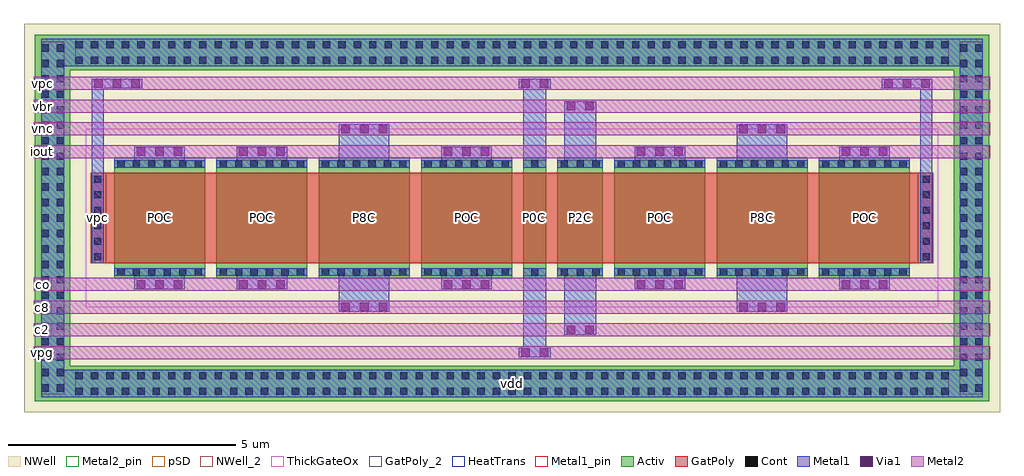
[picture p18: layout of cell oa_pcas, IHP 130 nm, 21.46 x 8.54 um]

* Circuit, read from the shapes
.subckt oa_pcas c2 c8 co iout vbr vdd vnc vpc vpg
XM1 iout vpc co vdd sg13_hv_pmos w=2u l=2u m=5
XM2 vnc vpc c8 vdd sg13_hv_pmos w=2u l=2u m=2
XM3 vpc vpc vpg vdd sg13_hv_pmos w=0.5u l=2u
XM4 vbr vpc c2 vdd sg13_hv_pmos w=1u l=2u
.ends

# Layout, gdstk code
from math import pi, radians
import gdstk
lib = gdstk.Library(unit=1e-6, precision=1e-09)
def R(c, l, rs):  # rectangles x0, y0, x1, y1
    for r in rs: c.add(gdstk.rectangle(r[:2], r[2:], *l))
def A(c, l, x, y, w, h, nx, ny, dx, dy):  # array of equal rectangles
    R(c, l, [(x+i*dx, y+j*dy, x+i*dx+w, y+j*dy+h) for i in range(nx) for j in range(ny)])
Activ = (1, 0)
GatPoly = (5, 0)
GatPoly_2 = (5, 2)
Cont = (6, 0)
Metal1 = (8, 0)
Metal1_pin = (8, 2)
Metal2 = (10, 0)
Metal2_pin = (10, 2)
pSD = (14, 0)
Via1 = (19, 0)
NWell = (31, 0)
NWell_2 = (31, 2)
ThickGateOx = (44, 0)
HeatTrans = (51, 0)

pmoshv_10 = lib.new_cell('pmosHV$10')
R(pmoshv_10, Activ, [(0,0,0.3,0.3), (0,0,2.68,2), (2.38,0,2.68,0.3)])
R(pmoshv_10, GatPoly, [(0.34,-0.18,2.34,2.18)])
R(pmoshv_10, GatPoly_2, [(0.34,-0.18,2.34,2.18)])
A(pmoshv_10, Cont, 0.07, 0.07, 0.16, 0.16, 1, 6, 0, 0.34)
A(pmoshv_10, Cont, 2.45, 0.07, 0.16, 0.16, 1, 6, 0, 0.34)
R(pmoshv_10, Metal1, [(0.07,0,0.23,2), (2.45,0,2.61,2)])
R(pmoshv_10, Metal1_pin, [(0.07,0,0.23,2), (2.45,0,2.61,2)])
R(pmoshv_10, pSD, [(-0.18,-0.4,2.86,2.4)])
R(pmoshv_10, NWell, [(-0.62,-0.62,3.3,2.62)])
R(pmoshv_10, ThickGateOx, [(-0.62,-0.62,3.3,2.62)])
R(pmoshv_10, HeatTrans, [(0.34,-0.18,2.34,2.18)])
pmoshv_10.add(gdstk.Label('pmosHV', (1.34,1), layer=63, texttype=0))
pmoshv_10.add(gdstk.Label('pmos', (1.34,1), layer=51, texttype=0))

pmoshv_11 = lib.new_cell('pmosHV$11')
R(pmoshv_11, Activ, [(0,0,0.3,0.3), (0,0,2.68,0.5), (2.38,0,2.68,0.3)])
R(pmoshv_11, GatPoly, [(0.34,-0.18,2.34,0.68)])
R(pmoshv_11, GatPoly_2, [(0.34,-0.18,2.34,0.68)])
R(pmoshv_11, Cont, [(0.07,0.17,0.23,0.33), (2.45,0.17,2.61,0.33)])
R(pmoshv_11, Metal1, [(0.07,0,0.23,0.5), (2.45,0,2.61,0.5)])
R(pmoshv_11, Metal1_pin, [(0.07,0,0.23,0.5), (2.45,0,2.61,0.5)])
R(pmoshv_11, pSD, [(-0.18,-0.4,2.86,0.9)])
R(pmoshv_11, NWell, [(-0.62,-0.62,3.3,1.12)])
R(pmoshv_11, ThickGateOx, [(-0.62,-0.62,3.3,1.12)])
R(pmoshv_11, HeatTrans, [(0.34,-0.18,2.34,0.68)])
pmoshv_11.add(gdstk.Label('pmosHV', (1.34,0.25), layer=63, texttype=0))
pmoshv_11.add(gdstk.Label('pmos', (1.34,0.25), layer=51, texttype=0))

pmoshv_12 = lib.new_cell('pmosHV$12')
R(pmoshv_12, Activ, [(0,0,0.3,0.3), (0,0,2.68,1), (2.38,0,2.68,0.3)])
R(pmoshv_12, GatPoly, [(0.34,-0.18,2.34,1.18)])
R(pmoshv_12, GatPoly_2, [(0.34,-0.18,2.34,1.18)])
A(pmoshv_12, Cont, 0.07, 0.07, 0.16, 0.16, 1, 3, 0, 0.35)
A(pmoshv_12, Cont, 2.45, 0.07, 0.16, 0.16, 1, 3, 0, 0.35)
R(pmoshv_12, Metal1, [(0.07,0,0.23,1), (2.45,0,2.61,1)])
R(pmoshv_12, Metal1_pin, [(0.07,0,0.23,1), (2.45,0,2.61,1)])
R(pmoshv_12, pSD, [(-0.18,-0.4,2.86,1.4)])
R(pmoshv_12, NWell, [(-0.62,-0.62,3.3,1.62)])
R(pmoshv_12, ThickGateOx, [(-0.62,-0.62,3.3,1.62)])
R(pmoshv_12, HeatTrans, [(0.34,-0.18,2.34,1.18)])
pmoshv_12.add(gdstk.Label('pmosHV', (1.34,0.5), layer=63, texttype=0))
pmoshv_12.add(gdstk.Label('pmos', (1.34,0.5), layer=51, texttype=0))

ntap1_33 = lib.new_cell('ntap1$33')
R(ntap1_33, Activ, [(0,0,0.78,8.06)])
A(ntap1_33, Cont, 0.14, 0.21, 0.16, 0.16, 1, 23, 0, 0.34)
A(ntap1_33, Cont, 0.48, 0.21, 0.16, 0.16, 1, 23, 0, 0.34)
R(ntap1_33, Metal1, [(0.14,0.16,0.64,7.9)])
R(ntap1_33, Metal1_pin, [(0.14,0.16,0.64,7.9), (0.14,0.21,0.64,7.85)])
R(ntap1_33, NWell, [(-0.24,-0.24,1.02,8.3), (0,0,0.78,8.06)])
R(ntap1_33, NWell_2, [(0,0,0.78,8.06)])
ntap1_33.add(gdstk.Label('well', (0.39,0.01), layer=63, texttype=0))
ntap1_33.add(gdstk.Label('well', (0.39,0.01), layer=31, texttype=0))

ntap1_34 = lib.new_cell('ntap1$34')
R(ntap1_34, Activ, [(0,0,19.42,0.78)])
A(ntap1_34, Cont, 0.11, 0.14, 0.16, 0.16, 57, 2, 0.34, 0.34)
R(ntap1_34, Metal1, [(0.11,0.09,19.31,0.69)])
R(ntap1_34, Metal1_pin, [(0.11,0.09,19.31,0.69), (0.11,0.14,19.31,0.64)])
R(ntap1_34, NWell, [(-0.24,-0.24,19.66,1.02), (0,0,19.42,0.78)])
R(ntap1_34, NWell_2, [(0,0,19.42,0.78)])
ntap1_34.add(gdstk.Label('well', (9.71,0.01), layer=63, texttype=0))
ntap1_34.add(gdstk.Label('well', (9.71,0.01), layer=31, texttype=0))

oa_pcas = lib.new_cell('oa_pcas')
R(oa_pcas, GatPoly, [(-0.51,0.34,-0.1,2.34), (17.6,0.34,18.01,2.34)])
A(oa_pcas, Cont, -0.44, 0.41, 0.16, 0.16, 1, 6, 0, 0.34)
A(oa_pcas, Cont, 17.78, 0.41, 0.16, 0.16, 1, 6, 0, 0.34)
R(oa_pcas, Metal1, [(-1.6,-2.6,19.1,-2.53), (-1.2,-2.6,-0.75,-2), (18.25,-2.6,18.7,-2), (8.9,-1.725,9.6,-1.515), (9,-1.725,9.5,0.23), (9.9,-1.225,10.6,0.23), (4.945,-0.725,6.055,0.23), (13.695,-0.725,14.805,0.23), (0.445,-0.225,1.555,0.23), (2.695,-0.225,3.805,0.23), (7.195,-0.225,8.305,0.23), (11.445,-0.225,12.555,0.23), (15.945,-0.225,17.055,0.23), (-0.49,0.34,-0.23,4.405), (17.73,0.34,17.99,4.405), (0.445,2.45,1.555,2.905), (2.695,2.45,3.805,2.905), (4.945,2.45,6.055,3.405), (7.195,2.45,8.305,2.905), (9,2.45,9.5,4.405), (9.9,2.45,10.6,3.905), (11.445,2.45,12.555,2.905), (13.695,2.45,14.805,3.405), (15.945,2.45,17.055,2.905), (-0.49,4.195,0.62,4.405), (8.9,4.195,9.6,4.405), (16.88,4.195,17.99,4.405), (-1.2,4.68,-0.75,5.28), (18.25,4.68,18.7,5.28), (-1.6,5.21,19.1,5.28)])
R(oa_pcas, Metal1_pin, [(-0.85,-2.6,18.35,-2), (-0.49,0.34,-0.23,2.34), (17.73,0.34,17.99,2.34)])
A(oa_pcas, Metal2_pin, -1.77, -1.765, 0.4, 0.29, 1, 4, 0, 0.5)
A(oa_pcas, Metal2_pin, -1.77, 2.655, 0.4, 0.29, 1, 4, 0, 0.5)
R(oa_pcas, pSD, [(-0.62,-0.62,18.12,3.3)])
A(oa_pcas, Via1, 4.995, -0.715, 0.19, 0.19, 3, 2, 0.41, 3.92)
A(oa_pcas, Via1, 13.745, -0.715, 0.19, 0.19, 3, 2, 0.41, 3.92)
A(oa_pcas, Via1, 0.495, -0.215, 0.19, 0.19, 3, 2, 0.41, 2.92)
A(oa_pcas, Via1, 2.745, -0.215, 0.19, 0.19, 3, 2, 0.41, 2.92)
A(oa_pcas, Via1, 7.245, -0.215, 0.19, 0.19, 3, 2, 0.41, 2.92)
A(oa_pcas, Via1, 11.495, -0.215, 0.19, 0.19, 3, 2, 0.41, 2.92)
A(oa_pcas, Via1, 15.995, -0.215, 0.19, 0.19, 3, 2, 0.41, 2.92)
A(oa_pcas, Via1, -0.44, 4.205, 0.19, 0.19, 3, 1, 0.41, 0)
A(oa_pcas, Via1, 16.93, 4.205, 0.19, 0.19, 3, 1, 0.41, 0)
R(oa_pcas, Via1, [(8.95,-1.715,9.14,-1.525), (9.36,-1.715,9.55,-1.525), (9.95,-1.215,10.14,-1.025), (10.36,-1.215,10.55,-1.025), (9.95,3.705,10.14,3.895), (10.36,3.705,10.55,3.895), (8.95,4.205,9.14,4.395), (9.36,4.205,9.55,4.395)])
R(oa_pcas, NWell, [(-1.98,-2.93,19.48,5.61)])
R(oa_pcas, ThickGateOx, [(-0.62,-0.62,18.12,3.3)])
oa_pcas.add(gdstk.FlexPath([(-1.625,-0.12),(19.125,-0.12)], 0.29, ends="extended", simple_path=True, layer=10, datatype=0))  # Metal2
oa_pcas.add(gdstk.FlexPath([(-1.625,-0.62),(19.125,-0.62)], 0.29, ends="extended", simple_path=True, layer=10, datatype=0))  # Metal2
oa_pcas.add(gdstk.FlexPath([(-1.625,-1.12),(19.125,-1.12)], 0.29, ends="extended", simple_path=True, layer=10, datatype=0))  # Metal2
oa_pcas.add(gdstk.FlexPath([(-1.625,-1.62),(19.125,-1.62)], 0.29, ends="extended", simple_path=True, layer=10, datatype=0))  # Metal2
oa_pcas.add(gdstk.FlexPath([(-1.625,2.8),(19.125,2.8)], 0.29, ends="extended", simple_path=True, layer=10, datatype=0))  # Metal2
oa_pcas.add(gdstk.FlexPath([(-1.625,3.3),(19.125,3.3)], 0.29, ends="extended", simple_path=True, layer=10, datatype=0))  # Metal2
oa_pcas.add(gdstk.FlexPath([(-1.625,3.8),(19.125,3.8)], 0.29, ends="extended", simple_path=True, layer=10, datatype=0))  # Metal2
oa_pcas.add(gdstk.FlexPath([(-1.625,4.3),(19.125,4.3)], 0.29, ends="extended", simple_path=True, layer=10, datatype=0))  # Metal2
oa_pcas.add(gdstk.Reference(pmoshv_10, (0,2.68), rotation=3*pi/2))
oa_pcas.add(gdstk.Reference(pmoshv_10, (2.25,2.68), rotation=3*pi/2))
oa_pcas.add(gdstk.Reference(pmoshv_10, (4.5,2.68), rotation=3*pi/2))
oa_pcas.add(gdstk.Reference(pmoshv_10, (6.75,2.68), rotation=3*pi/2))
oa_pcas.add(gdstk.Reference(pmoshv_11, (9,2.68), rotation=3*pi/2))
oa_pcas.add(gdstk.Reference(pmoshv_12, (9.75,2.68), rotation=3*pi/2))
oa_pcas.add(gdstk.Reference(pmoshv_10, (11,2.68), rotation=3*pi/2))
oa_pcas.add(gdstk.Reference(pmoshv_10, (13.25,2.68), rotation=3*pi/2))
oa_pcas.add(gdstk.Reference(pmoshv_10, (15.5,2.68), rotation=3*pi/2))
oa_pcas.add(gdstk.Reference(ntap1_33, (-1.74,-2.69)))
oa_pcas.add(gdstk.Reference(ntap1_33, (18.46,-2.69)))
oa_pcas.add(gdstk.Reference(ntap1_34, (-0.96,4.59)))
oa_pcas.add(gdstk.Reference(ntap1_34, (-0.96,-2.69)))
oa_pcas.add(gdstk.Label('POC', (1,1.34), layer=63, texttype=0))
oa_pcas.add(gdstk.Label('POC', (3.25,1.34), layer=63, texttype=0))
oa_pcas.add(gdstk.Label('P8C', (5.5,1.34), layer=63, texttype=0))
oa_pcas.add(gdstk.Label('POC', (7.75,1.34), layer=63, texttype=0))
oa_pcas.add(gdstk.Label('P0C', (9.25,1.34), layer=63, texttype=0))
oa_pcas.add(gdstk.Label('P2C', (10.25,1.34), layer=63, texttype=0))
oa_pcas.add(gdstk.Label('POC', (12,1.34), layer=63, texttype=0))
oa_pcas.add(gdstk.Label('P8C', (14.25,1.34), layer=63, texttype=0))
oa_pcas.add(gdstk.Label('POC', (16.5,1.34), layer=63, texttype=0))
oa_pcas.add(gdstk.Label('vpc', (-0.36,1.34), layer=8, texttype=25))
oa_pcas.add(gdstk.Label('vdd', (8.75,-2.3), layer=8, texttype=25))
oa_pcas.add(gdstk.Label('co', (-1.57,-0.12), layer=10, texttype=25))
oa_pcas.add(gdstk.Label('c8', (-1.57,-0.62), layer=10, texttype=25))
oa_pcas.add(gdstk.Label('c2', (-1.57,-1.12), layer=10, texttype=25))
oa_pcas.add(gdstk.Label('vpg', (-1.57,-1.62), layer=10, texttype=25))
oa_pcas.add(gdstk.Label('iout', (-1.57,2.8), layer=10, texttype=25))
oa_pcas.add(gdstk.Label('vnc', (-1.57,3.3), layer=10, texttype=25))
oa_pcas.add(gdstk.Label('vbr', (-1.57,3.8), layer=10, texttype=25))
oa_pcas.add(gdstk.Label('vpc', (-1.57,4.3), layer=10, texttype=25))

lib.write_gds('oa_pcas.gds')
